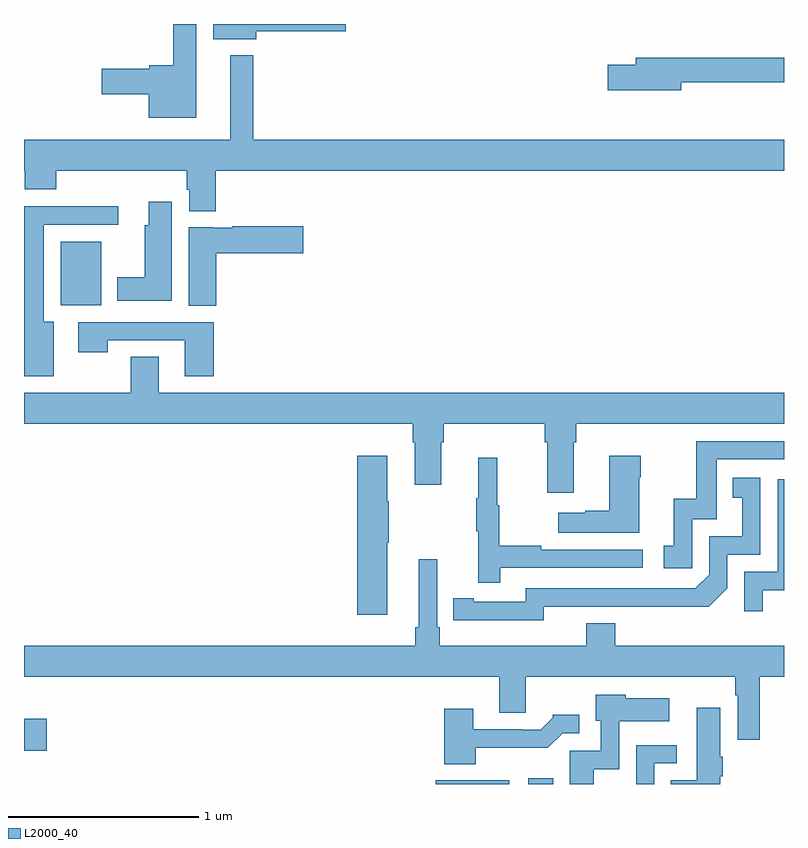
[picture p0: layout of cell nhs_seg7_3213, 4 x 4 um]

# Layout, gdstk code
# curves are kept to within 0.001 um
import gdstk
lib = gdstk.Library(unit=1e-6, precision=1e-09)
def R(c, l, rs):  # rectangles x0, y0, x1, y1
    for r in rs: c.add(gdstk.rectangle(r[:2], r[2:], *l))
def P(c, l, *ps):  # polygons
    for p in ps: c.add(gdstk.Polygon(p, *l))
L2000_40 = (2000, 40)

nhs_seg7_3213 = lib.new_cell('nhs_seg7_3213')
R(nhs_seg7_3213, L2000_40, [(317.166,1052,317.554,1052.02), (317.654,1052,317.785,1052.029), (315,1052.174,315.121,1052.344), (315.194,1054.52,315.406,1054.855)])
P(nhs_seg7_3213, L2000_40, [(316.222,1055.963),(316.693,1055.963),(316.693,1056),(315.995,1056),(315.995,1055.921),(316.222,1055.921)],
  [(315.907,1056),(315.786,1056),(315.786,1055.783),(315.66,1055.783),(315.66,1055.765),(315.408,1055.765),(315.408,1055.63),(315.656,1055.63),(315.656,1055.507),(315.907,1055.507)],
  [(316.01,1055.228),(319,1055.228),(319,1055.392),(316.207,1055.392),(316.207,1055.836),(316.085,1055.836),(316.085,1055.392),(315,1055.392),(315,1055.228),(315.005,1055.228),(315.005,1055.129),(315.17,1055.129),(315.17,1055.228),(315.857,1055.228),(315.857,1055.127),(315.869,1055.127),(315.869,1055.015),(316.01,1055.015)],
  [(318.46,1055.694),(319,1055.694),(319,1055.822),(318.221,1055.822),(318.221,1055.786),(318.072,1055.786),(318.072,1055.651),(318.46,1055.651)],
  [(315.778,1055.065),(315.656,1055.065),(315.656,1054.941),(315.635,1054.941),(315.635,1054.666),(315.491,1054.666),(315.491,1054.544),(315.778,1054.544)],
  [(315.157,1054.432),(315.103,1054.432),(315.103,1054.944),(315.496,1054.944),(315.496,1055.042),(315,1055.042),(315,1054.146),(315.157,1054.146)],
  [(316.013,1054.793),(316.471,1054.793),(316.471,1054.935),(316.096,1054.935),(316.096,1054.927),(315.996,1054.927),(315.996,1054.93),(315.866,1054.93),(315.866,1054.516),(316.013,1054.516)],
  [(315.998,1054.431),(315.285,1054.431),(315.285,1054.272),(315.441,1054.272),(315.441,1054.335),(315.845,1054.335),(315.845,1054.146),(315.998,1054.146)],
  [(317.893,1053.8),(317.906,1053.8),(317.906,1053.896),(319,1053.896),(319,1054.06),(315.709,1054.06),(315.709,1054.25),(315.562,1054.25),(315.562,1054.06),(315,1054.06),(315,1053.896),(317.045,1053.896),(317.045,1053.8),(317.057,1053.8),(317.057,1053.576),(317.197,1053.576),(317.197,1053.8),(317.21,1053.8),(317.21,1053.896),(317.741,1053.896),(317.741,1053.8),(317.753,1053.8),(317.753,1053.534),(317.893,1053.534)],
  [(318.516,1053.393),(318.645,1053.393),(318.645,1053.708),(319,1053.708),(319,1053.804),(318.537,1053.804),(318.537,1053.502),(318.419,1053.502),(318.419,1053.255),(318.366,1053.255),(318.366,1053.135),(318.516,1053.135)],
  [(318.238,1053.614),(318.246,1053.614),(318.246,1053.727),(318.08,1053.727),(318.08,1053.437),(317.954,1053.437),(317.954,1053.427),(317.811,1053.427),(317.811,1053.323),(318.238,1053.323)],
  [(316.912,1053.271),(316.92,1053.271),(316.92,1053.488),(316.912,1053.488),(316.912,1053.727),(316.754,1053.727),(316.754,1052.892),(316.912,1052.892)],
  [(317.507,1053.138),(318.256,1053.138),(318.256,1053.234),(317.723,1053.234),(317.723,1053.254),(317.5,1053.254),(317.5,1053.468),(317.492,1053.468),(317.492,1053.718),(317.39,1053.718),(317.39,1053.505),(317.379,1053.505),(317.379,1053.331),(317.39,1053.331),(317.39,1053.06),(317.507,1053.06)],
  [(317.736,1052.934),(318.604,1052.933),(318.702,1053.03),(318.702,1053.207),(318.876,1053.207),(318.876,1053.613),(318.73,1053.613),(318.73,1053.507),(318.779,1053.507),(318.779,1053.303),(318.606,1053.303),(318.606,1053.102),(318.534,1053.03),(317.64,1053.03),(317.64,1052.958),(317.368,1052.958),(317.368,1052.978),(317.26,1052.978),(317.26,1052.862),(317.736,1052.861)],
  [(318.889,1053.021),(319,1053.021),(319,1053.603),(318.966,1053.603),(318.966,1053.117),(318.792,1053.117),(318.792,1052.91),(318.889,1052.91)],
  [(318.872,1052.564),(319,1052.564),(319,1052.728),(318.113,1052.728),(318.113,1052.845),(317.96,1052.845),(317.96,1052.728),(317.189,1052.728),(317.189,1052.824),(317.175,1052.824),(317.175,1053.184),(317.078,1053.184),(317.078,1052.824),(317.059,1052.824),(317.059,1052.728),(315,1052.728),(315,1052.564),(317.501,1052.564),(317.501,1052.374),(317.641,1052.374),(317.641,1052.564),(318.744,1052.564),(318.744,1052.468),(318.756,1052.468),(318.756,1052.232),(318.872,1052.232)],
  [(317.998,1052.078),(318.132,1052.078),(318.132,1052.33),(318.397,1052.33),(318.397,1052.452),(318.168,1052.452),(318.168,1052.47),(318.008,1052.47),(318.008,1052.334),(318.036,1052.334),(318.036,1052.175),(317.873,1052.175),(317.873,1052),(317.998,1052)],
  [(318.664,1052.041),(318.677,1052.041),(318.677,1052.144),(318.664,1052.144),(318.664,1052.401),(318.542,1052.401),(318.542,1052.02),(318.403,1052.02),(318.403,1052),(318.664,1052)],
  [(317.378,1052.19),(317.757,1052.19),(317.835,1052.268),(317.923,1052.268),(317.923,1052.365),(317.784,1052.365),(317.784,1052.35),(317.72,1052.286),(317.621,1052.286),(317.621,1052.289),(317.365,1052.289),(317.365,1052.395),(317.213,1052.395),(317.213,1052.105),(317.378,1052.105)],
  [(318.318,1052.109),(318.436,1052.109),(318.436,1052.205),(318.222,1052.205),(318.222,1052),(318.318,1052)])

lib.write_gds('nhs_seg7_3213.gds')
